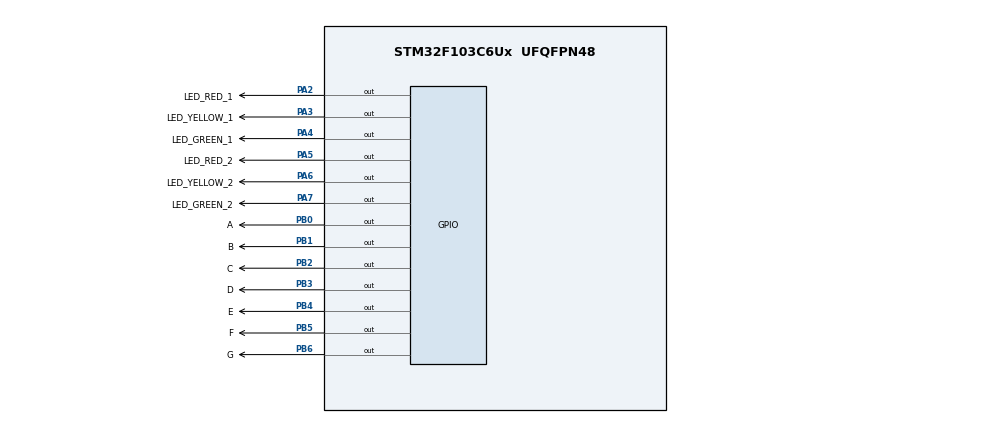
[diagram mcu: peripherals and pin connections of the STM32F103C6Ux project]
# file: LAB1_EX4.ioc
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Mcu.Family=STM32F1
Mcu.Name=STM32F103C6Ux
Mcu.Package=UFQFPN48
NVIC.PriorityGroup=NVIC_PRIORITYGROUP_4
PA2.GPIO_Label=LED_RED_1
PA2.Signal=GPIO_Output
PA3.GPIO_Label=LED_YELLOW_1
PA3.Signal=GPIO_Output
PA4.GPIO_Label=LED_GREEN_1
PA4.Signal=GPIO_Output
PA5.GPIO_Label=LED_RED_2
PA5.Signal=GPIO_Output
PA6.GPIO_Label=LED_YELLOW_2
PA6.Signal=GPIO_Output
PA7.GPIO_Label=LED_GREEN_2
PA7.Signal=GPIO_Output
PB0.GPIO_Label=A
PB0.Signal=GPIO_Output
PB1.GPIO_Label=B
PB1.Signal=GPIO_Output
PB2.GPIO_Label=C
PB2.Signal=GPIO_Output
PB3.GPIO_Label=D
PB3.Signal=GPIO_Output
PB4.GPIO_Label=E
PB4.Signal=GPIO_Output
PB5.GPIO_Label=F
PB5.Signal=GPIO_Output
PB6.GPIO_Label=G
PB6.Signal=GPIO_Output
ProjectManager.HeapSize=0x200
ProjectManager.StackSize=0x400
ProjectManager.TargetToolchain=STM32CubeIDE
RCC.APB1Freq_Value=8000000
RCC.APB2Freq_Value=8000000
board=custom

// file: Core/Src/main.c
/* USER CODE BEGIN Header */
/**
  ******************************************************************************
  * @file           : main.c
  * @brief          : Main program body
  ******************************************************************************
  * @attention
  *
  * Copyright (c) 2022 STMicroelectronics.
  * All rights reserved.
  *
  * This software is licensed under terms that can be found in the LICENSE file
  * in the root directory of this software component.
  * If no LICENSE file comes with this software, it is provided AS-IS.
  *
  ******************************************************************************
  */
/* USER CODE END Header */
#include "main.h"

void SystemClock_Config(void);
static void MX_GPIO_Init(void);
/* USER CODE BEGIN PFP */
void display7SEG(int num);
/* USER CODE END PFP */

int main(void)
{

  /* MCU Configuration--------------------------------------------------------*/

  /* Reset of all peripherals, Initializes the Flash interface and the Systick. */
  HAL_Init();

  /* Configure the system clock */
  SystemClock_Config();

  /* Initialize all configured peripherals */
  MX_GPIO_Init();

  /* Infinite loop */
  /* USER CODE BEGIN WHILE */
  int counter = 0;
        int count = 0;
        while (1)
        {
          /* USER CODE END WHILE */

      	  count++;
		  if(count <= 5){
			  HAL_GPIO_WritePin ( LED_RED_1_GPIO_Port , LED_RED_1_Pin , GPIO_PIN_RESET ) ;
			  HAL_GPIO_WritePin ( LED_YELLOW_1_GPIO_Port , LED_YELLOW_1_Pin , GPIO_PIN_SET ) ;
			  HAL_GPIO_WritePin ( LED_GREEN_1_GPIO_Port , LED_GREEN_1_Pin , GPIO_PIN_SET ) ;

			  if(count <= 2){
				HAL_GPIO_WritePin ( LED_RED_2_GPIO_Port , LED_RED_2_Pin , GPIO_PIN_SET ) ;
				HAL_GPIO_WritePin ( LED_YELLOW_2_GPIO_Port , LED_YELLOW_2_Pin , GPIO_PIN_SET ) ;
				HAL_GPIO_WritePin ( LED_GREEN_2_GPIO_Port , LED_GREEN_2_Pin , GPIO_PIN_RESET ) ;
			  }

			  else{
				HAL_GPIO_WritePin ( LED_RED_2_GPIO_Port , LED_RED_2_Pin , GPIO_PIN_SET ) ;
				HAL_GPIO_WritePin ( LED_YELLOW_2_GPIO_Port , LED_YELLOW_2_Pin , GPIO_PIN_RESET ) ;
				HAL_GPIO_WritePin ( LED_GREEN_2_GPIO_Port , LED_GREEN_2_Pin , GPIO_PIN_SET ) ;
			  }
		  }
		  else if(count <= 7){
			  HAL_GPIO_WritePin ( LED_RED_1_GPIO_Port , LED_RED_1_Pin , GPIO_PIN_SET ) ;
			  HAL_GPIO_WritePin ( LED_YELLOW_1_GPIO_Port , LED_YELLOW_1_Pin , GPIO_PIN_SET ) ;
			  HAL_GPIO_WritePin ( LED_GREEN_1_GPIO_Port , LED_GREEN_1_Pin , GPIO_PIN_RESET ) ;

			  HAL_GPIO_WritePin ( LED_RED_2_GPIO_Port , LED_RED_2_Pin , GPIO_PIN_RESET ) ;
			  HAL_GPIO_WritePin ( LED_YELLOW_2_GPIO_Port , LED_YELLOW_2_Pin , GPIO_PIN_SET ) ;
			  HAL_GPIO_WritePin ( LED_GREEN_2_GPIO_Port , LED_GREEN_2_Pin , GPIO_PIN_SET ) ;
		  }
		  else if(count <= 10){
			HAL_GPIO_WritePin ( LED_RED_1_GPIO_Port , LED_RED_1_Pin , GPIO_PIN_SET ) ;
			HAL_GPIO_WritePin ( LED_YELLOW_1_GPIO_Port , LED_YELLOW_1_Pin , GPIO_PIN_RESET ) ;
			HAL_GPIO_WritePin ( LED_GREEN_1_GPIO_Port , LED_GREEN_1_Pin , GPIO_PIN_SET ) ;

		  }
		  if(count >= 10) {
			  count = -1;
		  }

      	  if( counter >= 10) counter = 0;
      	  display7SEG ( counter ++) ;
      	  	  HAL_Delay (1000) ;
  }
}

void SystemClock_Config(void)
{
  RCC_OscInitTypeDef RCC_OscInitStruct = {0};
  RCC_ClkInitTypeDef RCC_ClkInitStruct = {0};

  /** Initializes the RCC Oscillators according to the specified parameters
  * in the RCC_OscInitTypeDef structure.
  */
  RCC_OscInitStruct.OscillatorType = RCC_OSCILLATORTYPE_HSI;
  RCC_OscInitStruct.HSIState = RCC_HSI_ON;
  RCC_OscInitStruct.HSICalibrationValue = RCC_HSICALIBRATION_DEFAULT;
  RCC_OscInitStruct.PLL.PLLState = RCC_PLL_NONE;
  if (HAL_RCC_OscConfig(&RCC_OscInitStruct) != HAL_OK)
  {
    Error_Handler();
  }

  /** Initializes the CPU, AHB and APB buses clocks
  */
  RCC_ClkInitStruct.ClockType = RCC_CLOCKTYPE_HCLK|RCC_CLOCKTYPE_SYSCLK
                              |RCC_CLOCKTYPE_PCLK1|RCC_CLOCKTYPE_PCLK2;
  RCC_ClkInitStruct.SYSCLKSource = RCC_SYSCLKSOURCE_HSI;
  RCC_ClkInitStruct.AHBCLKDivider = RCC_SYSCLK_DIV1;
  RCC_ClkInitStruct.APB1CLKDivider = RCC_HCLK_DIV1;
  RCC_ClkInitStruct.APB2CLKDivider = RCC_HCLK_DIV1;

  if (HAL_RCC_ClockConfig(&RCC_ClkInitStruct, FLASH_LATENCY_0) != HAL_OK)
  {
    Error_Handler();
  }
}

static void MX_GPIO_Init(void)
{
  GPIO_InitTypeDef GPIO_InitStruct = {0};

  /* GPIO Ports Clock Enable */
  __HAL_RCC_GPIOA_CLK_ENABLE();
  __HAL_RCC_GPIOB_CLK_ENABLE();

  /*Configure GPIO pin Output Level */
  HAL_GPIO_WritePin(GPIOA, LED_RED_1_Pin|LED_YELLOW_1_Pin|LED_GREEN_1_Pin|LED_RED_2_Pin
                          |LED_YELLOW_2_Pin|LED_GREEN_2_Pin, GPIO_PIN_RESET);

  /*Configure GPIO pin Output Level */
  HAL_GPIO_WritePin(GPIOB, A_Pin|B_Pin|C_Pin|D_Pin
                          |E_Pin|F_Pin|G_Pin, GPIO_PIN_RESET);

  /*Configure GPIO pins : LED_RED_1_Pin LED_YELLOW_1_Pin LED_GREEN_1_Pin LED_RED_2_Pin
                           LED_YELLOW_2_Pin LED_GREEN_2_Pin */
  GPIO_InitStruct.Pin = LED_RED_1_Pin|LED_YELLOW_1_Pin|LED_GREEN_1_Pin|LED_RED_2_Pin
                          |LED_YELLOW_2_Pin|LED_GREEN_2_Pin;
  GPIO_InitStruct.Mode = GPIO_MODE_OUTPUT_PP;
  GPIO_InitStruct.Pull = GPIO_NOPULL;
  GPIO_InitStruct.Speed = GPIO_SPEED_FREQ_LOW;
  HAL_GPIO_Init(GPIOA, &GPIO_InitStruct);

  /*Configure GPIO pins : A_Pin B_Pin C_Pin D_Pin
                           E_Pin F_Pin G_Pin */
  GPIO_InitStruct.Pin = A_Pin|B_Pin|C_Pin|D_Pin
                          |E_Pin|F_Pin|G_Pin;
  GPIO_InitStruct.Mode = GPIO_MODE_OUTPUT_PP;
  GPIO_InitStruct.Pull = GPIO_NOPULL;
  GPIO_InitStruct.Speed = GPIO_SPEED_FREQ_LOW;
  HAL_GPIO_Init(GPIOB, &GPIO_InitStruct);

}

/* USER CODE BEGIN 4 */
void display7SEG(int num){
	switch(num){
	case 0:
		HAL_GPIO_WritePin ( A_GPIO_Port , A_Pin , GPIO_PIN_RESET ) ;
		HAL_GPIO_WritePin ( B_GPIO_Port , B_Pin , GPIO_PIN_RESET ) ;
		HAL_GPIO_WritePin ( C_GPIO_Port , C_Pin , GPIO_PIN_RESET ) ;
		HAL_GPIO_WritePin ( D_GPIO_Port , D_Pin , GPIO_PIN_RESET ) ;
		HAL_GPIO_WritePin ( E_GPIO_Port , E_Pin , GPIO_PIN_RESET ) ;
		HAL_GPIO_WritePin ( F_GPIO_Port , F_Pin , GPIO_PIN_RESET ) ;
		HAL_GPIO_WritePin ( G_GPIO_Port , G_Pin , GPIO_PIN_SET ) ;
		break;
	case 1:
		HAL_GPIO_WritePin ( A_GPIO_Port , A_Pin , GPIO_PIN_SET ) ;
		HAL_GPIO_WritePin ( B_GPIO_Port , B_Pin , GPIO_PIN_RESET ) ;
		HAL_GPIO_WritePin ( C_GPIO_Port , C_Pin , GPIO_PIN_RESET ) ;
		HAL_GPIO_WritePin ( D_GPIO_Port , D_Pin , GPIO_PIN_SET ) ;
		HAL_GPIO_WritePin ( E_GPIO_Port , E_Pin , GPIO_PIN_SET ) ;
		HAL_GPIO_WritePin ( F_GPIO_Port , F_Pin , GPIO_PIN_SET ) ;
		HAL_GPIO_WritePin ( G_GPIO_Port , G_Pin , GPIO_PIN_SET ) ;
		break;
	case 2:
		HAL_GPIO_WritePin ( A_GPIO_Port , A_Pin , GPIO_PIN_RESET ) ;
		HAL_GPIO_WritePin ( B_GPIO_Port , B_Pin , GPIO_PIN_RESET ) ;
		HAL_GPIO_WritePin ( C_GPIO_Port , C_Pin , GPIO_PIN_SET ) ;
		HAL_GPIO_WritePin ( D_GPIO_Port , D_Pin , GPIO_PIN_RESET ) ;
		HAL_GPIO_WritePin ( E_GPIO_Port , E_Pin , GPIO_PIN_RESET ) ;
		HAL_GPIO_WritePin ( F_GPIO_Port , F_Pin , GPIO_PIN_SET ) ;
		HAL_GPIO_WritePin ( G_GPIO_Port , G_Pin , GPIO_PIN_RESET ) ;
		break;
	case 3:
		HAL_GPIO_WritePin ( A_GPIO_Port , A_Pin , GPIO_PIN_RESET ) ;
		HAL_GPIO_WritePin ( B_GPIO_Port , B_Pin , GPIO_PIN_RESET ) ;
		HAL_GPIO_WritePin ( C_GPIO_Port , C_Pin , GPIO_PIN_RESET ) ;
		HAL_GPIO_WritePin ( D_GPIO_Port , D_Pin , GPIO_PIN_RESET ) ;
		HAL_GPIO_WritePin ( E_GPIO_Port , E_Pin , GPIO_PIN_SET ) ;
		HAL_GPIO_WritePin ( F_GPIO_Port , F_Pin , GPIO_PIN_SET ) ;
		HAL_GPIO_WritePin ( G_GPIO_Port , G_Pin , GPIO_PIN_RESET ) ;
		break;
	case 4:
		HAL_GPIO_WritePin ( A_GPIO_Port , A_Pin , GPIO_PIN_SET ) ;
		HAL_GPIO_WritePin ( B_GPIO_Port , B_Pin , GPIO_PIN_RESET ) ;
		HAL_GPIO_WritePin ( C_GPIO_Port , C_Pin , GPIO_PIN_RESET ) ;
		HAL_GPIO_WritePin ( D_GPIO_Port , D_Pin , GPIO_PIN_SET ) ;
		HAL_GPIO_WritePin ( E_GPIO_Port , E_Pin , GPIO_PIN_SET ) ;
		HAL_GPIO_WritePin ( F_GPIO_Port , F_Pin , GPIO_PIN_RESET ) ;
		HAL_GPIO_WritePin ( G_GPIO_Port , G_Pin , GPIO_PIN_RESET ) ;
		break;
	case 5:
		HAL_GPIO_WritePin ( A_GPIO_Port , A_Pin , GPIO_PIN_RESET ) ;
		HAL_GPIO_WritePin ( B_GPIO_Port , B_Pin , GPIO_PIN_SET ) ;
		HAL_GPIO_WritePin ( C_GPIO_Port , C_Pin , GPIO_PIN_RESET ) ;
		HAL_GPIO_WritePin ( D_GPIO_Port , D_Pin , GPIO_PIN_RESET ) ;
		HAL_GPIO_WritePin ( E_GPIO_Port , E_Pin , GPIO_PIN_SET ) ;
		HAL_GPIO_WritePin ( F_GPIO_Port , F_Pin , GPIO_PIN_RESET ) ;
		HAL_GPIO_WritePin ( G_GPIO_Port , G_Pin , GPIO_PIN_RESET ) ;
		break;
	case 6:
		HAL_GPIO_WritePin ( A_GPIO_Port , A_Pin , GPIO_PIN_RESET ) ;
		HAL_GPIO_WritePin ( B_GPIO_Port , B_Pin , GPIO_PIN_SET ) ;
		HAL_GPIO_WritePin ( C_GPIO_Port , C_Pin , GPIO_PIN_RESET ) ;
		HAL_GPIO_WritePin ( D_GPIO_Port , D_Pin , GPIO_PIN_RESET ) ;
		HAL_GPIO_WritePin ( E_GPIO_Port , E_Pin , GPIO_PIN_RESET ) ;
		HAL_GPIO_WritePin ( F_GPIO_Port , F_Pin , GPIO_PIN_RESET ) ;
		HAL_GPIO_WritePin ( G_GPIO_Port , G_Pin , GPIO_PIN_RESET ) ;
		break;
	case 7:
		HAL_GPIO_WritePin ( A_GPIO_Port , A_Pin , GPIO_PIN_RESET ) ;
		HAL_GPIO_WritePin ( B_GPIO_Port , B_Pin , GPIO_PIN_RESET ) ;
		HAL_GPIO_WritePin ( C_GPIO_Port , C_Pin , GPIO_PIN_RESET ) ;
		HAL_GPIO_WritePin ( D_GPIO_Port , D_Pin , GPIO_PIN_SET ) ;
		HAL_GPIO_WritePin ( E_GPIO_Port , E_Pin , GPIO_PIN_SET ) ;
		HAL_GPIO_WritePin ( F_GPIO_Port , F_Pin , GPIO_PIN_SET ) ;
		HAL_GPIO_WritePin ( G_GPIO_Port , G_Pin , GPIO_PIN_SET ) ;
		break;
	case 8:
		HAL_GPIO_WritePin ( A_GPIO_Port , A_Pin , GPIO_PIN_RESET ) ;
		HAL_GPIO_WritePin ( B_GPIO_Port , B_Pin , GPIO_PIN_RESET ) ;
		HAL_GPIO_WritePin ( C_GPIO_Port , C_Pin , GPIO_PIN_RESET ) ;
		HAL_GPIO_WritePin ( D_GPIO_Port , D_Pin , GPIO_PIN_RESET ) ;
		HAL_GPIO_WritePin ( E_GPIO_Port , E_Pin , GPIO_PIN_RESET ) ;
		HAL_GPIO_WritePin ( F_GPIO_Port , F_Pin , GPIO_PIN_RESET ) ;
		HAL_GPIO_WritePin ( G_GPIO_Port , G_Pin , GPIO_PIN_RESET ) ;
		break;
	case 9:
		HAL_GPIO_WritePin ( A_GPIO_Port , A_Pin , GPIO_PIN_RESET ) ;
		HAL_GPIO_WritePin ( B_GPIO_Port , B_Pin , GPIO_PIN_RESET ) ;
		HAL_GPIO_WritePin ( C_GPIO_Port , C_Pin , GPIO_PIN_RESET ) ;
		HAL_GPIO_WritePin ( D_GPIO_Port , D_Pin , GPIO_PIN_RESET ) ;
		HAL_GPIO_WritePin ( E_GPIO_Port , E_Pin , GPIO_PIN_SET ) ;
		HAL_GPIO_WritePin ( F_GPIO_Port , F_Pin , GPIO_PIN_RESET ) ;
		HAL_GPIO_WritePin ( G_GPIO_Port , G_Pin , GPIO_PIN_RESET ) ;
		break;
	default:
		break;
	}
}
/* USER CODE END 4 */

void Error_Handler(void)
{
  __disable_irq();
  while (1)
  {
  }
}
